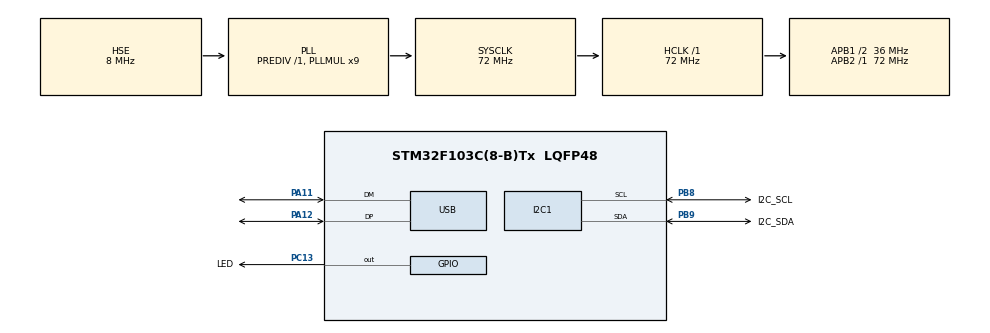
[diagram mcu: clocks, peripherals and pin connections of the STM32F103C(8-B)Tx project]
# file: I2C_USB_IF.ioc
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Mcu.Family=STM32F1
Mcu.Name=STM32F103C(8-B)Tx
Mcu.Package=LQFP48
NVIC.PriorityGroup=NVIC_PRIORITYGROUP_4
NVIC.USB_LP_CAN1_RX0_IRQn=true\:0\:0\:false\:false\:true\:false\:true\:true
PA11.Mode=Device
PA11.Signal=USB_DM
PA12.Mode=Device
PA12.Signal=USB_DP
PA13.Mode=Serial_Wire
PA13.Signal=SYS_JTMS-SWDIO
PA14.Mode=Serial_Wire
PA14.Signal=SYS_JTCK-SWCLK
PB8.GPIO_Label=I2C_SCL
PB8.Mode=I2C
PB8.Signal=I2C1_SCL
PB9.GPIO_Label=I2C_SDA
PB9.Mode=I2C
PB9.Signal=I2C1_SDA
PC13-TAMPER-RTC.GPIO_Label=LED
PC13-TAMPER-RTC.GPIO_ModeDefaultOutputPP=GPIO_MODE_OUTPUT_OD
PC13-TAMPER-RTC.GPIO_PuPd=GPIO_NOPULL
PC13-TAMPER-RTC.PinState=GPIO_PIN_SET
PC13-TAMPER-RTC.Signal=GPIO_Output
PD0-OSC_IN.Mode=HSE-External-Oscillator
PD0-OSC_IN.Signal=RCC_OSC_IN
PD1-OSC_OUT.Mode=HSE-External-Oscillator
PD1-OSC_OUT.Signal=RCC_OSC_OUT
ProjectManager.HeapSize=0x200
ProjectManager.StackSize=0x400
ProjectManager.TargetToolchain=STM32CubeIDE
RCC.AHBFreq_Value=72000000
RCC.APB1CLKDivider=RCC_HCLK_DIV2
RCC.APB1Freq_Value=36000000
RCC.APB1TimFreq_Value=72000000
RCC.APB2Freq_Value=72000000
RCC.APB2TimFreq_Value=72000000
RCC.HCLKFreq_Value=72000000
RCC.PLLMUL=RCC_PLL_MUL9
RCC.PLLSourceVirtual=RCC_PLLSOURCE_HSE
RCC.SYSCLKFreq_VALUE=72000000
RCC.SYSCLKSource=RCC_SYSCLKSOURCE_PLLCLK
RCC.USBFreq_Value=48000000
RCC.USBPrescaler=RCC_USBCLKSOURCE_PLL_DIV1_5
USB_DEVICE.APP_RX_DATA_SIZE=256
USB_DEVICE.APP_TX_DATA_SIZE=256
USB_DEVICE.CLASS_NAME_FS=CDC
USB_DEVICE.VirtualMode=Cdc
USB_DEVICE.VirtualModeFS=Cdc_FS
VP_USB_DEVICE_VS_USB_DEVICE_CDC_FS.Mode=CDC_FS
board=I2C_Monitor

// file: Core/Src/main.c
/* USER CODE BEGIN Header */
/**
  ******************************************************************************
  * @file           : main.c
  * @brief          : Main program body
  ******************************************************************************
  * @attention
  *
  * Copyright (c) 2022 STMicroelectronics.
  * All rights reserved.
  *
  * This software is licensed under terms that can be found in the LICENSE file
  * in the root directory of this software component.
  * If no LICENSE file comes with this software, it is provided AS-IS.
  *
  ******************************************************************************
  */
/* USER CODE END Header */
#include "main.h"
#include "i2c.h"
#include "usb_device.h"
#include "gpio.h"

/* USER CODE BEGIN Includes */
#include <string.h>
#include "usbd_cdc_if.h"
/* USER CODE END Includes */

/* USER CODE BEGIN PD */
#define USB_TX_BUFFER_SIZE 64
/* USER CODE END PD */

/* USER CODE BEGIN PM */
#define USB_TX(A) strcpy(szUSBTxBuf, A); CDC_Transmit_FS((uint8_t*)szUSBTxBuf, (uint16_t) strlen(szUSBTxBuf)); HAL_Delay(1);
#define USB_TX_V(A,B) sprintf(szUSBTxBuf, A, B); CDC_Transmit_FS((uint8_t*)szUSBTxBuf, (uint16_t) strlen(szUSBTxBuf)); HAL_Delay(1);
/* USER CODE END PM */

/* USER CODE BEGIN PV */
char szUSBTxBuf[USB_TX_BUFFER_SIZE];
/* USER CODE END PV */

void SystemClock_Config(void);
/* USER CODE BEGIN PFP */
void setLED(uint8_t bOn);
uint8_t ReadI2C(uint8_t slv7bitAddr, uint8_t* data, uint8_t len, uint8_t timeout);
uint8_t WriteI2C(uint8_t slv7bitAddr, uint8_t* data, uint8_t len, uint8_t timeout);
/* USER CODE END PFP */

int main(void)
{

  /* MCU Configuration--------------------------------------------------------*/

  /* Reset of all peripherals, Initializes the Flash interface and the Systick. */
  HAL_Init();

  /* Configure the system clock */
  SystemClock_Config();

  /* Initialize all configured peripherals */
  MX_GPIO_Init();
  MX_USB_DEVICE_Init();
  MX_I2C1_Init();
  /* USER CODE BEGIN 2 */
  for(int i=0;i<3;i++)
  {
	  HAL_Delay(250); setLED(1);
	  HAL_Delay(250); setLED(0);
  }

  //USB_TX("I2C USB IF Started\r\n")

  /* USER CODE END 2 */

  /* Infinite loop */
  /* USER CODE BEGIN WHILE */
#define CMD_REP_BUFSIZE 10

  uint8_t iBuf[CMD_REP_BUFSIZE];
  uint8_t oBuf[CMD_REP_BUFSIZE];
  uint8_t bSucc;

  /*
   * in[0] = 0x5A
   * in[1] = (7bit Addr << 1) + (1bit R/W)
   * in[2] = data length
   * in[3] = timeout (ms)
   * in[4] = Data 0 (For Write Only)
   * in[5] = Data 1 (For Write Only)
   * in[n] = Data N (For Write Only)
   *
   * out[0] = 0xA5
   * out[1] = 0x0F=OK / 0xF0=NOK
   * out[2] = Data 0 (For Read Only)
   * out[3] = Data 1 (For Read Only)
   * out[n] = Data N (For Read Only)
   *
   */

  uint8_t temp7bitAddr;
  uint8_t tempLength;
  uint8_t tempTimeOut;

  while (1)
  {
	  if(CDC_GetRxBufferBytesAvailable_FS()>0)
	  {
		  setLED(1);

		  memset(oBuf, 0, CMD_REP_BUFSIZE);

		  if(CDC_ReadRxBuffer_FS(iBuf, 1)==USB_CDC_RX_BUFFER_OK)
		  {
			  if(iBuf[0]==0x5A && CDC_GetRxBufferBytesAvailable_FS()>=3)
			  {
				  if(CDC_ReadRxBuffer_FS(iBuf, 3)==USB_CDC_RX_BUFFER_OK)
				  {
					  temp7bitAddr = iBuf[0]>>1;
					  tempLength = iBuf[1];
					  tempTimeOut = iBuf[2];

					  if(iBuf[0] & 0x1)
					  {
						  // I2C Read

						  bSucc = ReadI2C(temp7bitAddr, &oBuf[2], tempLength, tempTimeOut);

						  oBuf[0] = 0xA5;
						  oBuf[1] = bSucc?0x0F:0xF0;

						  CDC_Transmit_FS(oBuf, 2 + tempLength);
					  }
					  else if(CDC_ReadRxBuffer_FS(iBuf, tempLength)==USB_CDC_RX_BUFFER_OK)
					  {
						  // I2C Write

						  bSucc = WriteI2C(temp7bitAddr, iBuf, tempLength, tempTimeOut);

						  oBuf[0] = 0xA5;
						  oBuf[1] = bSucc?0x0F:0xF0;

						  CDC_Transmit_FS(oBuf, 2);
					  }
				  }
			  }
			  else if(iBuf[0]=='c'||iBuf[0]=='C')
			  {
				  CDC_FlushRxBuffer_FS();
			  }
			  else if(iBuf[0]=='h'||iBuf[0]=='H')
			  {
				  USB_TX("HelloWorld");
			  }
			  else
			  {
				  // Do nothing
			  }
		  }

		  setLED(0);
	  }
    /* USER CODE END WHILE */

  }
}

void SystemClock_Config(void)
{
  RCC_OscInitTypeDef RCC_OscInitStruct = {0};
  RCC_ClkInitTypeDef RCC_ClkInitStruct = {0};
  RCC_PeriphCLKInitTypeDef PeriphClkInit = {0};

  /** Initializes the RCC Oscillators according to the specified parameters
  * in the RCC_OscInitTypeDef structure.
  */
  RCC_OscInitStruct.OscillatorType = RCC_OSCILLATORTYPE_HSE;
  RCC_OscInitStruct.HSEState = RCC_HSE_ON;
  RCC_OscInitStruct.HSEPredivValue = RCC_HSE_PREDIV_DIV1;
  RCC_OscInitStruct.HSIState = RCC_HSI_ON;
  RCC_OscInitStruct.PLL.PLLState = RCC_PLL_ON;
  RCC_OscInitStruct.PLL.PLLSource = RCC_PLLSOURCE_HSE;
  RCC_OscInitStruct.PLL.PLLMUL = RCC_PLL_MUL9;
  if (HAL_RCC_OscConfig(&RCC_OscInitStruct) != HAL_OK)
  {
    Error_Handler();
  }

  /** Initializes the CPU, AHB and APB buses clocks
  */
  RCC_ClkInitStruct.ClockType = RCC_CLOCKTYPE_HCLK|RCC_CLOCKTYPE_SYSCLK
                              |RCC_CLOCKTYPE_PCLK1|RCC_CLOCKTYPE_PCLK2;
  RCC_ClkInitStruct.SYSCLKSource = RCC_SYSCLKSOURCE_PLLCLK;
  RCC_ClkInitStruct.AHBCLKDivider = RCC_SYSCLK_DIV1;
  RCC_ClkInitStruct.APB1CLKDivider = RCC_HCLK_DIV2;
  RCC_ClkInitStruct.APB2CLKDivider = RCC_HCLK_DIV1;

  if (HAL_RCC_ClockConfig(&RCC_ClkInitStruct, FLASH_LATENCY_2) != HAL_OK)
  {
    Error_Handler();
  }
  PeriphClkInit.PeriphClockSelection = RCC_PERIPHCLK_USB;
  PeriphClkInit.UsbClockSelection = RCC_USBCLKSOURCE_PLL_DIV1_5;
  if (HAL_RCCEx_PeriphCLKConfig(&PeriphClkInit) != HAL_OK)
  {
    Error_Handler();
  }
}

/* USER CODE BEGIN 4 */
void setLED(uint8_t bOn)
{
	HAL_GPIO_WritePin(LED_GPIO_Port, LED_Pin, bOn? GPIO_PIN_RESET:GPIO_PIN_SET);
}

uint8_t ReadI2C(uint8_t slv7bitAddr, uint8_t* data, uint8_t len, uint8_t timeout)
{
	HAL_StatusTypeDef halStat = HAL_I2C_Master_Receive(&hi2c1, slv7bitAddr<<1, data, len, timeout);

	return halStat==HAL_OK?1:0;
}

uint8_t WriteI2C(uint8_t slv7bitAddr, uint8_t* data, uint8_t len, uint8_t timeout)
{
	HAL_StatusTypeDef halStat = HAL_I2C_Master_Transmit(&hi2c1, slv7bitAddr<<1, data, len, timeout);

	return halStat==HAL_OK?1:0;
}
/* USER CODE END 4 */

void Error_Handler(void)
{
  __disable_irq();
  while (1)
  {
  }
}
